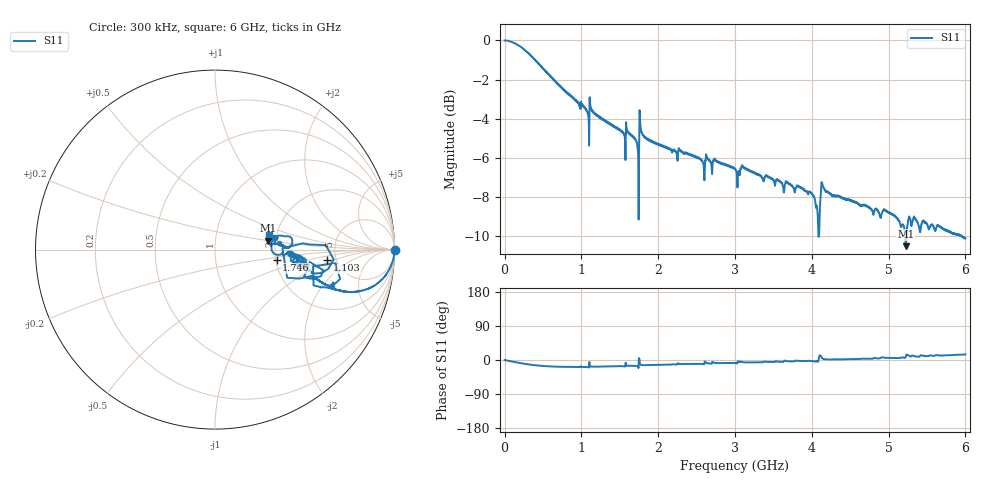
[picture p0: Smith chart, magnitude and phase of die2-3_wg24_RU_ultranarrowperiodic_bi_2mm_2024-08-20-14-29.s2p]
!Keysight Technologies,P9374A,MY57304198,A.17.20.09
!Date: Tuesday, August 20, 2024 14:29:52
!Correction: S11(C  1-Port  )
!S21(C  1-Port  )
!S12(Off)
!S22(Off)
!S2P File: Measurements: S11, S21, S12, S22:
# Hz S  dB  R 50
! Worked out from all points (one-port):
!   6000 points, 300 kHz to 6 GHz, reference 50 ohm
!   lowest |S11| = -10.5 dB at 5.224 GHz (marker M1), VSWR 1.85, Z = 90.8 + j9.92 ohm
!   |S11| at or under -10 dB: 4.086799 GHz to 4.092772 GHz (5.973 MHz wide, 0.146 % of centre); 5.213952 GHz to 5.232269 GHz (18.32 MHz wide, 0.351 % of centre); 5.947 GHz to end of sweep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
!   S11 on the Smith chart (normalised r, x): 300 kHz: open; 1.103 GHz: 4.19, -0.80; 1.746 GHz: 2.02, -0.26; 6 GHz: 1.82, +0.32
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300000  0.00 -0.0  -200.00 45.0  -200.00 45.0  -200.00 45.0
2.31327e8  -0.38 -8.9  -200.00 45.0  -200.00 45.0  -200.00 45.0
4.103478e8  -1.03 -13.9  -200.00 45.0  -200.00 45.0  -200.00 45.0
1.000417e9  -3.25 -18.2  -200.00 45.0  -200.00 45.0  -200.00 45.0
1.103429e9  -4.06 -5.3  -200.00 45.0  -200.00 45.0  -200.00 45.0
1.54648e9  -4.72 -16.2  -200.00 45.0  -200.00 45.0  -200.00 45.0
1.607488e9  -4.67 -15.2  -200.00 45.0  -200.00 45.0  -200.00 45.0
1.7135e9  -5.16 -15.6  -200.00 45.0  -200.00 45.0  -200.00 45.0
1.745504e9  -9.16 -9.3  -200.00 45.0  -200.00 45.0  -200.00 45.0
1.783508e9  -4.69 -13.2  -200.00 45.0  -200.00 45.0  -200.00 45.0
2.000533e9  -5.33 -12.8  -200.00 45.0  -200.00 45.0  -200.00 45.0
3.00065e9  -6.60 -7.9  -200.00 45.0  -200.00 45.0  -200.00 45.0
3.062657e9  -6.90 -4.5  -200.00 45.0  -200.00 45.0  -200.00 45.0
4.000767e9  -7.85 -2.8  -200.00 45.0  -200.00 45.0  -200.00 45.0
4.076776e9  -8.87 -4.6  -200.00 45.0  -200.00 45.0  -200.00 45.0
4.120781e9  -7.60 10.3  -200.00 45.0  -200.00 45.0  -200.00 45.0
4.147784e9  -7.50 2.9  -200.00 45.0  -200.00 45.0  -200.00 45.0
4.235794e9  -7.80 1.3  -200.00 45.0  -200.00 45.0  -200.00 45.0
5.000883e9  -8.78 5.4  -200.00 45.0  -200.00 45.0  -200.00 45.0
5.223909e9  -10.53 9.6  -200.00 45.0  -200.00 45.0  -200.00 45.0
5.340923e9  -9.10 9.7  -200.00 45.0  -200.00 45.0  -200.00 45.0
6e9  -10.13 14.9  -200.00 45.0  -200.00 45.0  -200.00 45.0
